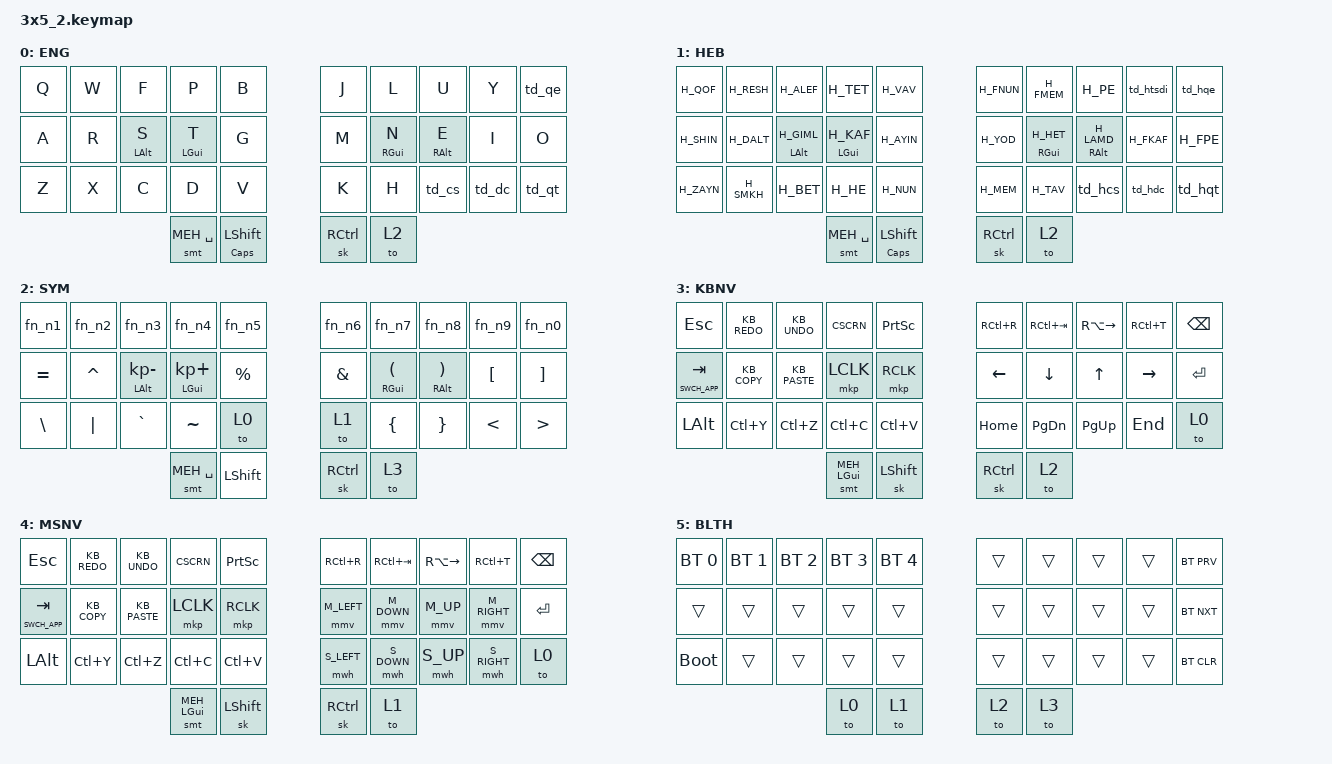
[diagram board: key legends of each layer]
/*
 * Copyright (c) 2020 The ZMK Contributors
 *
 * SPDX-License-Identifier: MIT
 */

#include <behaviors.dtsi>
#include <dt-bindings/zmk/keys.h>
#include <dt-bindings/zmk/bt.h>
#include <dt-bindings/zmk/mouse.h>

#include "base.dtsi"

// Layers
#define ENG    0
#define HEB    1
#define SYM    2
#define KBNV   3
#define MSNV   4	
#define BLTH   5

/ {
    keymap {
        compatible = "zmk,keymap";

        English {
            display-name = "ENG";
            bindings = <
    &kp Q           &kp W           &kp F           &kp P           &kp B              &kp J           &kp L           &kp U           &kp Y           &td_qe
    &kp A           &kp R           &hm LALT S      &hm LGUI T      &kp G              &kp M           &hm RGUI N      &hm RALT E      &kp I           &kp O
    &kp Z           &kp X           &kp C           &kp D           &kp V              &kp K           &kp H           &td_cs          &td_dc          &td_qt
                                    &smt MEH SPACE          &mt CAPS LSHIFT            &sk RCTRL               &to 2
            >;
        };
        Hebrew {
            display-name = "HEB";
            bindings = <
    &kp H_QOF       &kp H_RESH      &kp H_ALEF      &kp H_TET       &kp H_VAV          &kp H_FNUN      &kp H_FMEM      &kp H_PE        &td_htsdi       &td_hqe
    &kp H_SHIN      &kp H_DALT      &hm LALT H_GIML &hm LGUI H_KAF  &kp H_AYIN         &kp H_YOD       &hm RGUI H_HET  &hm RALT H_LAMD &kp H_FKAF      &kp H_FPE
    &kp H_ZAYN      &kp H_SMKH      &kp H_BET       &kp H_HE        &kp H_NUN          &kp H_MEM       &kp H_TAV       &td_hcs         &td_hdc         &td_hqt
                                    &smt MEH SPACE          &mt CAPS LSHIFT            &sk RCTRL               &to 2
            >;
        };
        Symbols {
            display-name = "SYM";
            bindings = <
    &fn_n1          &fn_n2          &fn_n3            &fn_n4            &fn_n5        &fn_n6          &fn_n7        &fn_n8          &fn_n9      &fn_n0
    &kp EQUAL       &kp CARET       &hm LALT KP_MINUS &hm LGUI KP_PLUS  &kp PRCNT     &kp AMPERSAND   &hm RGUI LPAR &hm RALT RPAR   &kp LBKT    &kp RBKT
    &kp BACKSLASH   &kp PIPE        &kp GRAVE         &kp TILDE         &to 0         &to 1           &kp LBRC      &kp RBRC        &kp LT      &kp GT
                                    &smt MEH SPACE          &kp LSHIFT                &sk RCTRL               &to 3
            >;
        };
        Keyboard_Nav {
            display-name = "KBNV";
            bindings = <
    &kp ESC           &kp KB_REDO &kp KB_UNDO   &kp CSCRN &kp PSCRN       &kp RC(R) &kp RC(TAB) &kp RA(RIGHT) &kp RC(T) &kp BSPC
    &mt SWCH_APP TAB  &kp KB_COPY &kp KB_PASTE  &mkp LCLK &mkp RCLK       &kp LEFT  &kp DOWN    &kp UP        &kp RIGHT &kp RET
    &kp LALT          &kp LC(Y)   &kp LC(Z)     &kp LC(C) &kp LC(V)       &kp HOME  &kp PG_DN   &kp PG_UP     &kp END   &to 0
                                  &smt MEH LGUI           &sk LSHIFT      &sk RCTRL             &to 2
            >;
        };
        Mouse_Nav {
            display-name = "MSNV";
            bindings = <
    &kp ESC             &kp KB_REDO &kp KB_UNDO     &kp CSCRN   &kp PSCRN       &kp RC(R)   &kp RC(TAB) &kp RA(RIGHT)   &kp RC(T)       &kp BSPC
    &mt SWCH_APP TAB    &kp KB_COPY &kp KB_PASTE    &mkp LCLK   &mkp RCLK       &mmv M_LEFT &mmv M_DOWN &mmv M_UP       &mmv M_RIGHT    &kp RET
    &kp LALT            &kp LC(Y)   &kp LC(Z)       &kp LC(C)   &kp LC(V)       &mwh S_LEFT &mwh S_DOWN &mwh S_UP       &mwh S_RIGHT    &to 0
                                    &smt MEH LGUI               &sk LSHIFT      &sk RCTRL               &to 1
            >;
        };
        Bluetooth {
            display-name = "BLTH";
            bindings = <
    &bt BT_SEL 0    &bt BT_SEL 1    &bt BT_SEL 2    &bt BT_SEL 3    &bt BT_SEL 4       &trans          &trans          &trans          &trans          &bt BT_PRV
    &trans          &trans          &trans          &trans          &trans             &trans          &trans          &trans          &trans          &bt BT_NXT
    &bootloader     &trans          &trans          &trans          &trans             &trans          &trans          &trans          &trans          &bt BT_CLR
                                    &to 0                   &to 1                      &to 2                   &to 3
        >;
        };
    };
};
